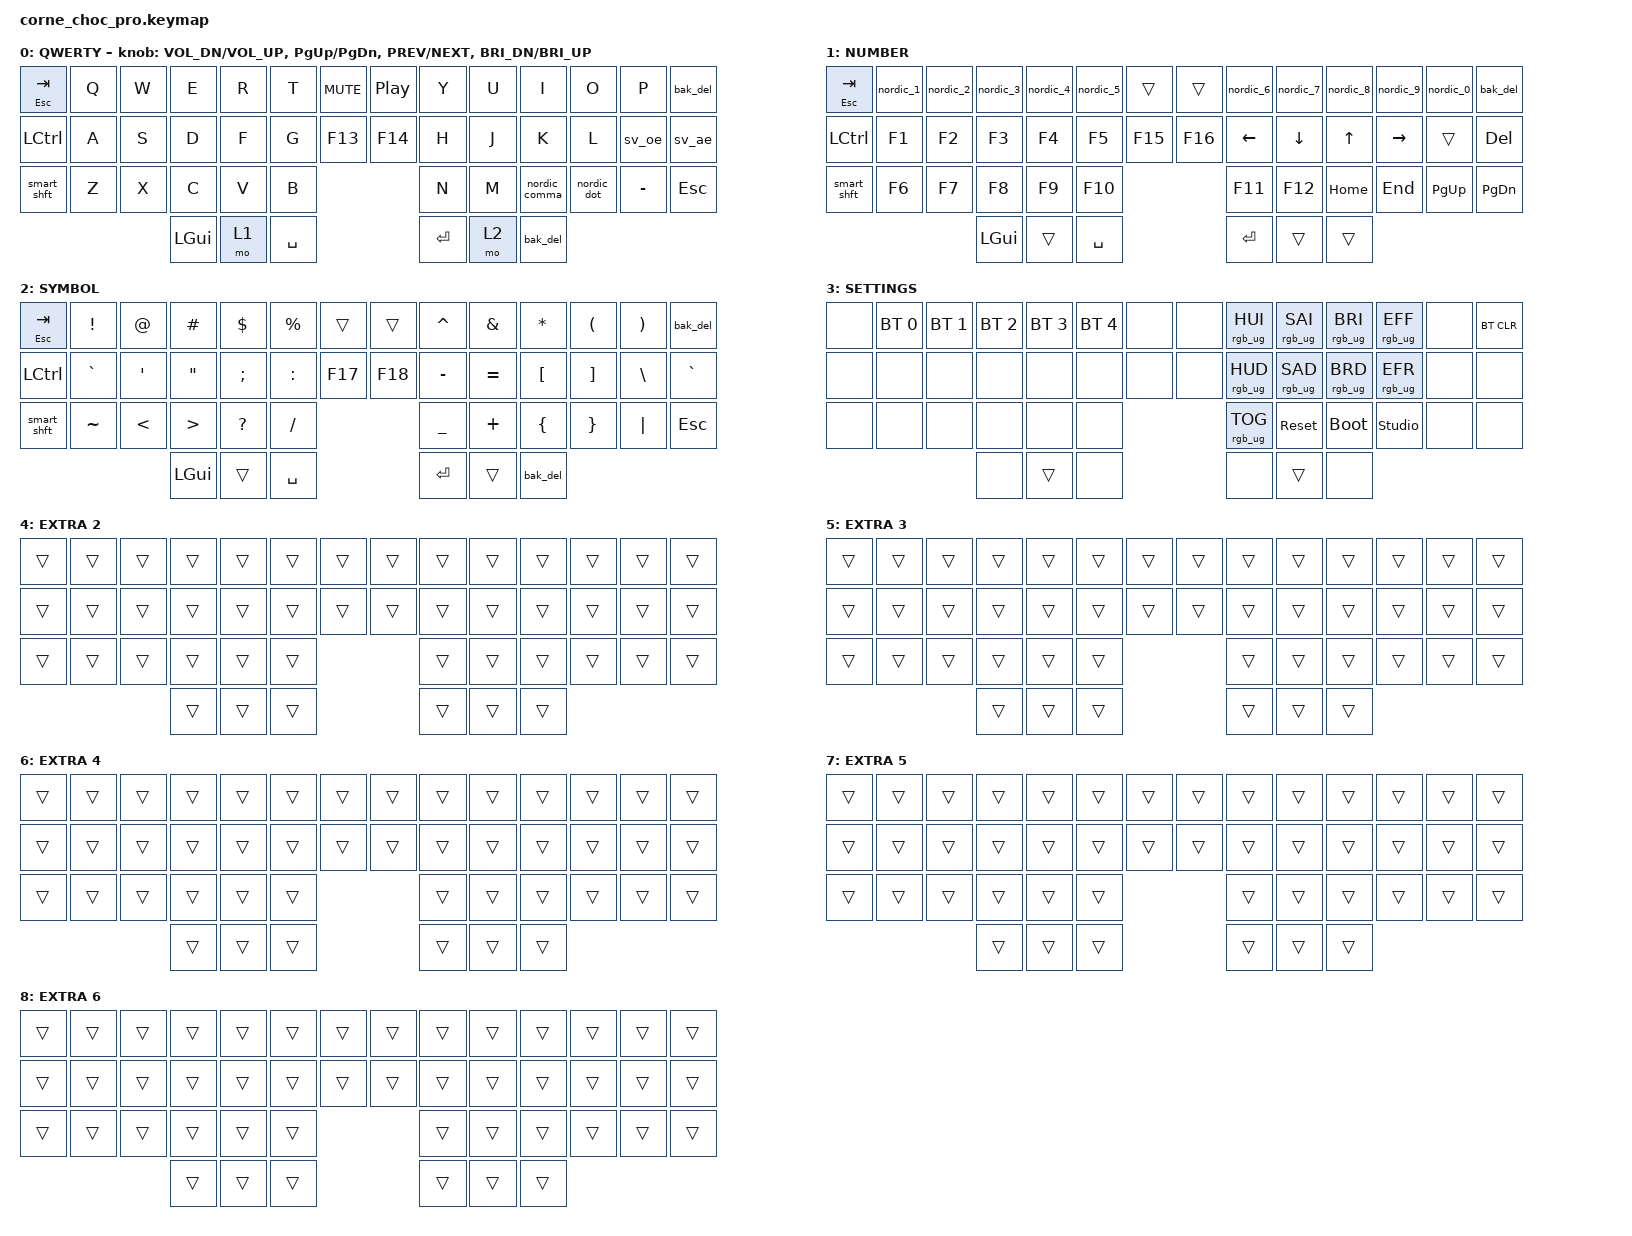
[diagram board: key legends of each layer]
/*
 * Copyright (c) 2020 The ZMK Contributors
 *
 * SPDX-License-Identifier: MIT
 */

#include <behaviors.dtsi>
#include <dt-bindings/zmk/keys.h>
#include <dt-bindings/zmk/bt.h>
#include <dt-bindings/zmk/rgb.h>

// set host os to Linux (for Unicode Hex Input on Mac)
#define HOST_OS 2

#include "zmk-nodefree-config/include/zmk-helpers/helper.h"
#include "zmk-nodefree-config/include/zmk-helpers/unicode-chars/swedish.dtsi"

&sk {  // sticky-key config
    release-after-ms = <900>;
    quick-release;
};

// default settings
#define QUICK_TAP_MS 175
#define TAPPING_TERM_MS 175

// reuse basic mod-morph scheme
#define SIMPLE_MORPH(NAME, MOD, BINDING1, BINDING2) \
    ZMK_BEHAVIOR(NAME, mod_morph, \
        mods = <(MOD_L ## MOD|MOD_R ## MOD)>; \
        bindings = <BINDING1>, <BINDING2>; \
    )

// default hold-tap settings
#define DEFAULT_HOLD_TAP(NAME, BINDING1, BINDING2) \
    ZMK_BEHAVIOR(NAME, hold_tap, \
        flavor = "hold-preferred"; \
        tapping-term-ms = <TAPPING_TERM_MS>; \
        bindings = <BINDING1>, <BINDING2>; \
    )

// default tap-dance settings
#define DEFAULT_TAP_DANCE(NAME, BINDING1, BINDING2) \
    ZMK_BEHAVIOR(NAME, tap_dance, \
        tapping-term-ms = <TAPPING_TERM_MS>; \
        bindings = <BINDING1>, <BINDING2>; \
    )

// Nordic shift layout
SIMPLE_MORPH(nordic_1, SFT, &kp N1, &kp EXCL)
SIMPLE_MORPH(nordic_2, SFT, &kp N2, &kp DQT)
SIMPLE_MORPH(nordic_3, SFT, &kp N3, &kp HASH)
SIMPLE_MORPH(nordic_4, SFT, &kp N4, &kp DLLR)
SIMPLE_MORPH(nordic_5, SFT, &kp N5, &kp PRCNT)
SIMPLE_MORPH(nordic_6, SFT, &kp N6, &kp AMPS)
SIMPLE_MORPH(nordic_7, SFT, &kp N7, &kp FSLH)
SIMPLE_MORPH(nordic_8, SFT, &kp N8, &kp LPAR)
SIMPLE_MORPH(nordic_9, SFT, &kp N9, &kp RPAR)
SIMPLE_MORPH(nordic_0, SFT, &kp N0, &kp EQUAL)
SIMPLE_MORPH(nordic_dot, SFT, &kp DOT, &kp COLON)
SIMPLE_MORPH(nordic_comma, SFT, &kp COMMA, &kp SEMI)
SIMPLE_MORPH(nordic_dqt, SFT, &kp DQT, &kp AT)

// tap: backspace, ALT+tap: del
SIMPLE_MORPH(bak_del, ALT, &kp BSPC, &kp DEL)

// tap: shift | double-tap: caps-word
DEFAULT_TAP_DANCE(smart_shft, &kp LSHIFT, &caps_word)

// hold-tap default
DEFAULT_HOLD_TAP(ht, &kp, &kp)

// tap: TAB | hold: ESC
#define TABESC &ht ESC TAB

// tap: ~ | hold: ESC
#define TILDEESC &ht ESC TILDE

/ {
    chosen {
        zmk,physical-layout = &default_layout;
    };
};

/ {
    conditional_layers {
        compatible = "zmk,conditional-layers";
        tri_layer {
            if-layers = <1 2>;
            then-layer = <3>;
        };
    };
};

/ {
    combos {
        compatible = "zmk,combos";
        // Key positions for default_layout (42 keys):
        // Row 0:  0   1   2   3   4   5   [6] [7]  8   9  10  11  12  13
        // Row 1: 14  15  16  17  18  19  [20][21] 22  23  24  25  26  27
        // Row 2: 28  29  30  31  32  33           34  35  36  37  38  39
        // Thumb:                 40  41  42       43  44  45
        // (Keys 6,7,20,21 are encoder presses)

        combo_ao {
            timeout-ms = <35>;
            key-positions = <25 26>;  // L + ö = å
            bindings = <&sv_ao>;
        };
        combo_esc {
            timeout-ms = <35>;
            key-positions = <23 24>;  // J + K = ESC
            bindings = <&kp ESC>;
        };
    };
};

/ {
    keymap {
        compatible = "zmk,keymap";

        default_layer {
            display-name = "QWERTY";
            // --------------------------------------------------------------------------------
            // |TAB/ESC|  Q  |  W  |  E  |  R  |  T  |  MUTE | PP  |  Y  |  U   |  I  |  O  |  P  | BKSP/DEL |
            // | CTRL  |  A  |  S  |  D  |  F  |  G  |  F13  | F14 |  H  |  J   |  K  |  L  |  ö  |  ä       |
            // | SHFT* |  Z  |  X  |  C  |  V  |  B  |               |  N  |  M   | ,/; | ./: |  -  | ESC      |
            //                     | GUI | LWR | SPC |               | ENT | RSE  | BKSP/DEL |
            // Combo: ö + ä = å | SHFT* = double-tap for caps-word
            bindings = <
                TABESC      &kp Q &kp W &kp E &kp R &kp T &kp C_MUTE &kp C_PP &kp Y &kp U  &kp I         &kp O       &kp P     &bak_del
                &kp LCTRL   &kp A &kp S &kp D &kp F &kp G &kp F13    &kp F14  &kp H &kp J  &kp K         &kp L       &sv_oe    &sv_ae
                &smart_shft &kp Z &kp X &kp C &kp V &kp B                     &kp N &kp M  &nordic_comma &nordic_dot &kp MINUS &kp ESC
                                        &kp LGUI &mo 1 &kp SPACE              &kp RET &mo 2 &bak_del
            >;
            sensor-bindings = <&inc_dec_kp C_VOL_DN C_VOL_UP &inc_dec_kp PG_UP PG_DN &inc_dec_kp C_PREV C_NEXT &inc_dec_kp C_BRI_DN C_BRI_UP>;
        };

        lower_layer {
            display-name = "NUMBER";
            // -----------------------------------------------------------------------------------------
            // |TAB/ESC| 1/! | 2/" | 3/# | 4/$ | 5/% |      |      | 6/& | 7// | 8/( | 9/) | 0/= | BKSP/DEL |
            // | CTRL  |  F1 |  F2 |  F3 |  F4 |  F5 | F15  | F16  | LFT | DWN |  UP | RGT |     | DEL      |
            // | SHFT* |  F6 |  F7 |  F8 |  F9 | F10 |             | F11 | F12 | HOME| END | PGUP| PGDN     |
            //                     | GUI |     | SPC |             | ENT |     |     |
            bindings = <
                TABESC      &nordic_1 &nordic_2 &nordic_3 &nordic_4 &nordic_5 &trans &trans &nordic_6 &nordic_7 &nordic_8 &nordic_9 &nordic_0 &bak_del
                &kp LCTRL   &kp F1    &kp F2    &kp F3    &kp F4    &kp F5    &kp F15 &kp F16 &kp LEFT  &kp DOWN  &kp UP    &kp RIGHT &trans    &kp DEL
                &smart_shft &kp F6    &kp F7    &kp F8    &kp F9    &kp F10                 &kp F11   &kp F12   &kp HOME  &kp END   &kp PG_UP &kp PG_DN
                                                &kp LGUI  &trans    &kp SPACE              &kp RET   &trans    &trans
            >;
        };

        raise_layer {
            display-name = "SYMBOL";
            // Coding-focused symbol layer - improved from main
            // -----------------------------------------------------------------------------------------
            // |TAB/ESC|  !  |  @  |  #  |  $  |  %  |      |      |  ^  |  &  |  *  |  (  |  )  | BKSP/DEL |
            // | CTRL  |  `  |  '  |  "  |  ;  |  :  | F17  | F18  |  -  |  =  |  [  |  ]  |  \  |  `       |
            // | SHFT* |  ~  |  <  |  >  |  ?  |  /  |             |  _  |  +  |  {  |  }  |  |  | ESC      |
            //                      | GUI |     | SPC |             | ENT |     | BKSP/DEL |
            // Logic: ; : on home row F/G, < > ? / easy access left bottom
            bindings = <
                TABESC      &kp EXCL  &kp AT   &kp HASH  &kp DLLR  &kp PRCNT &trans &trans &kp CARET &kp AMPS  &kp ASTRK &kp LPAR  &kp RPAR &bak_del
                &kp LCTRL   &kp GRAVE &kp SQT  &kp DQT   &kp SEMI  &kp COLON &kp F17 &kp F18 &kp MINUS &kp EQUAL &kp LBKT  &kp RBKT  &kp BSLH &kp GRAVE
                &smart_shft &kp TILDE &kp LT   &kp GT    &kp QMARK &kp FSLH              &kp UNDER &kp PLUS  &kp LBRC  &kp RBRC  &kp PIPE &kp ESC
                                               &kp LGUI  &trans    &kp SPACE              &kp RET   &trans    &bak_del
            >;
        };

        settings_layer {
            display-name = "SETTINGS";
            // Activated by holding LWR + RSE (both layer keys)
            // -----------------------------------------------------------------------------------------
            // |      | BT1 | BT2 | BT3 | BT4 | BT5 |      |      | HUE+ | SAT+ | BRI+ | EFF+ |      | BTCLR |
            // |      |     |     |     |     |     |      |      | HUE- | SAT- | BRI- | EFF- |      |       |
            // |      |     |     |     |     |     |             | RGB  | RST  | BOOT |UNLOCK|      |       |
            //                    |     |     |     |             |      |      |      |
            bindings = <
                &none &bt BT_SEL 0 &bt BT_SEL 1 &bt BT_SEL 2 &bt BT_SEL 3 &bt BT_SEL 4 &none &none &rgb_ug RGB_HUI &rgb_ug RGB_SAI &rgb_ug RGB_BRI &rgb_ug RGB_EFF &none &bt BT_CLR
                &none &none        &none        &none        &none        &none        &none &none &rgb_ug RGB_HUD &rgb_ug RGB_SAD &rgb_ug RGB_BRD &rgb_ug RGB_EFR &none &none
                &none &none        &none        &none        &none        &none                    &rgb_ug RGB_TOG &sys_reset      &bootloader     &studio_unlock  &none &none
                                                &none        &trans       &none                    &none           &trans          &none
            >;
        };

        extra_layer_2 {
            display-name = "EXTRA 2";
            bindings = <
                &trans &trans &trans &trans &trans &trans &trans &trans &trans &trans &trans &trans &trans &trans
                &trans &trans &trans &trans &trans &trans &trans &trans &trans &trans &trans &trans &trans &trans
                &trans &trans &trans &trans &trans &trans               &trans &trans &trans &trans &trans &trans
                                     &trans &trans &trans               &trans &trans &trans       
            >;
        };

        extra_layer_3 {
            display-name = "EXTRA 3";
            bindings = <
                &trans &trans &trans &trans &trans &trans &trans &trans &trans &trans &trans &trans &trans &trans
                &trans &trans &trans &trans &trans &trans &trans &trans &trans &trans &trans &trans &trans &trans
                &trans &trans &trans &trans &trans &trans               &trans &trans &trans &trans &trans &trans
                                     &trans &trans &trans               &trans &trans &trans       
            >;
        };

        extra_layer_4 {
            display-name = "EXTRA 4";
            bindings = <
                &trans &trans &trans &trans &trans &trans &trans &trans &trans &trans &trans &trans &trans &trans
                &trans &trans &trans &trans &trans &trans &trans &trans &trans &trans &trans &trans &trans &trans
                &trans &trans &trans &trans &trans &trans               &trans &trans &trans &trans &trans &trans
                                     &trans &trans &trans               &trans &trans &trans       
            >;
        };

        extra_layer_5 {
            display-name = "EXTRA 5";
            bindings = <
                &trans &trans &trans &trans &trans &trans &trans &trans &trans &trans &trans &trans &trans &trans
                &trans &trans &trans &trans &trans &trans &trans &trans &trans &trans &trans &trans &trans &trans
                &trans &trans &trans &trans &trans &trans               &trans &trans &trans &trans &trans &trans
                                     &trans &trans &trans               &trans &trans &trans       
            >;
        };

        extra_layer_6 {
            display-name = "EXTRA 6";
            bindings = <
                &trans &trans &trans &trans &trans &trans &trans &trans &trans &trans &trans &trans &trans &trans
                &trans &trans &trans &trans &trans &trans &trans &trans &trans &trans &trans &trans &trans &trans
                &trans &trans &trans &trans &trans &trans               &trans &trans &trans &trans &trans &trans
                                     &trans &trans &trans               &trans &trans &trans       
            >;
        };
    };
};
